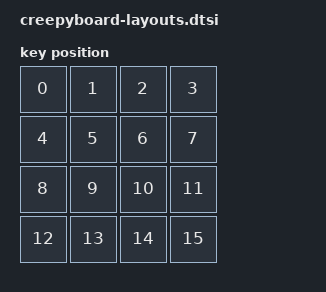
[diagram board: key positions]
#include <physical_layouts.dtsi>

/ {
    physical_layout0: physical_layout_0 {
        compatible = "zmk,physical-layout";
        display-name = "Default Layout";
        keys  //                     w   h    x    y     rot    rx    ry
            = <&key_physical_attrs 100 100    0     0       0     0     0>
            , <&key_physical_attrs 100 100  100     0       0     0     0>
            , <&key_physical_attrs 100 100  200     0       0     0     0>
            , <&key_physical_attrs 100 100  300     0       0     0     0>
            , <&key_physical_attrs 100 100    0   100       0     0     0>
            , <&key_physical_attrs 100 100  100   100       0     0     0>
            , <&key_physical_attrs 100 100  200   100       0     0     0>
            , <&key_physical_attrs 100 100  300   100       0     0     0>
            , <&key_physical_attrs 100 100    0   200       0     0     0>
            , <&key_physical_attrs 100 100  100   200       0     0     0>
            , <&key_physical_attrs 100 100  200   200       0     0     0>
            , <&key_physical_attrs 100 100  300   200       0     0     0>
            , <&key_physical_attrs 100 100    0   300       0     0     0>
            , <&key_physical_attrs 100 100  100   300       0     0     0>
            , <&key_physical_attrs 100 100  200   300       0     0     0>
            , <&key_physical_attrs 100 100  300   300       0     0     0>
            ;
    };
};


&physical_layout0 {
    kscan = <&kscan0>; // Label of the kscan node this layout uses
    transform = <&default_transform>; // Label of the matrix transform this layout uses
};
